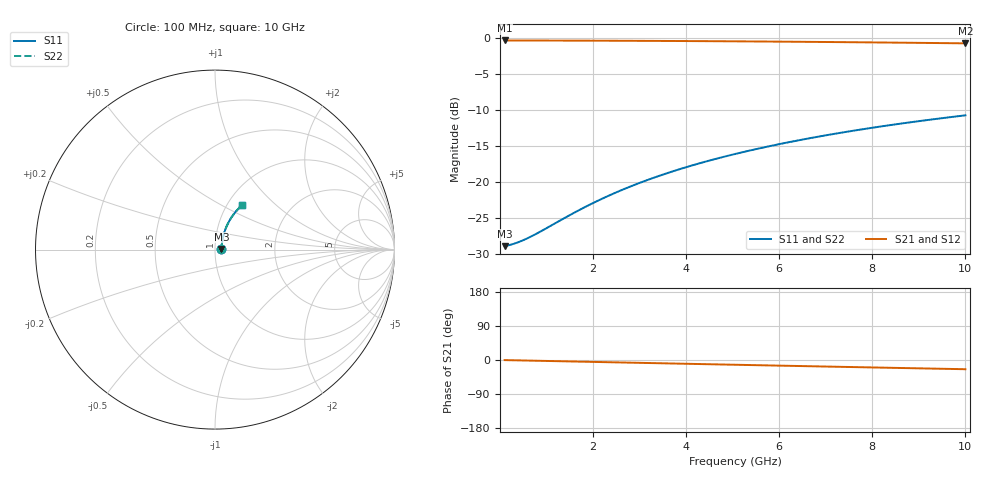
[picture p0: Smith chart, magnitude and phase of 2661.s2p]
# Hz S RI R 50.00
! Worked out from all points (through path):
!   100 points, 100 MHz to 10 GHz, reference 50 ohm
!   highest |S21| = -0.32 dB at 100 MHz (marker M1); lowest = -0.7 dB at 10 GHz (marker M2)
!   group delay of S21, straight-line fit = 6.77 ps
!   lowest |S11| = -28.9 dB at 100 MHz (marker M3), VSWR 1.07, Z = 53.7 + j0.313 ohm
!   |S11| at or under -10 dB: start of sweep to end of sweep
!   |S22| runs from -28.9 to -10.7 dB; largest |S21 - S12| = 0
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1e8  0.0358 0.00291  0.9642 -0.00421  0.9642 -0.00421  0.0358 0.00291
3e8  0.0363 0.00873  0.9637 -0.0126  0.9637 -0.0126  0.0363 0.00873
4e8  0.0365 0.0116  0.9635 -0.0168  0.9635 -0.0168  0.0365 0.0116
6e8  0.037 0.0174  0.963 -0.0252  0.963 -0.0252  0.037 0.0174
8e8  0.0375 0.0232  0.9624 -0.0336  0.9624 -0.0336  0.0375 0.0232
1.5e9  0.04 0.0434  0.9598 -0.0629  0.9598 -0.0629  0.04 0.0434
1.8e9  0.0414 0.052  0.9583 -0.0754  0.9583 -0.0754  0.0414 0.052
2.2e9  0.0436 0.0633  0.956 -0.092  0.956 -0.092  0.0436 0.0633
2.6e9  0.0461 0.0746  0.9533 -0.1084  0.9533 -0.1084  0.0461 0.0746
3e9  0.049 0.0857  0.9502 -0.1248  0.9502 -0.1248  0.049 0.0857
3.4e9  0.0523 0.0968  0.9466 -0.141  0.9466 -0.141  0.0523 0.0968
3.8e9  0.056 0.1076  0.9427 -0.1571  0.9427 -0.1571  0.056 0.1076
4.2e9  0.06 0.1183  0.9384 -0.1731  0.9384 -0.1731  0.06 0.1183
4.6e9  0.0644 0.1289  0.9338 -0.1888  0.9338 -0.1888  0.0644 0.1289
5.1e9  0.0703 0.1418  0.9274 -0.2083  0.9274 -0.2083  0.0703 0.1418
5.5e9  0.0754 0.1519  0.9219 -0.2236  0.9219 -0.2236  0.0754 0.1519
5.9e9  0.0808 0.1617  0.9161 -0.2387  0.9161 -0.2387  0.0808 0.1617
6.7e9  0.0926 0.1808  0.9034 -0.2682  0.9034 -0.2682  0.0926 0.1808
7.5e9  0.1055 0.1988  0.8895 -0.2968  0.8895 -0.2968  0.1055 0.1988
8.4e9  0.1213 0.2179  0.8724 -0.3277  0.8724 -0.3277  0.1213 0.2179
9.2e9  0.1363 0.2336  0.8562 -0.354  0.8562 -0.354  0.1363 0.2336
1e10  0.1522 0.2481  0.839 -0.3791  0.839 -0.3791  0.1522 0.2481
